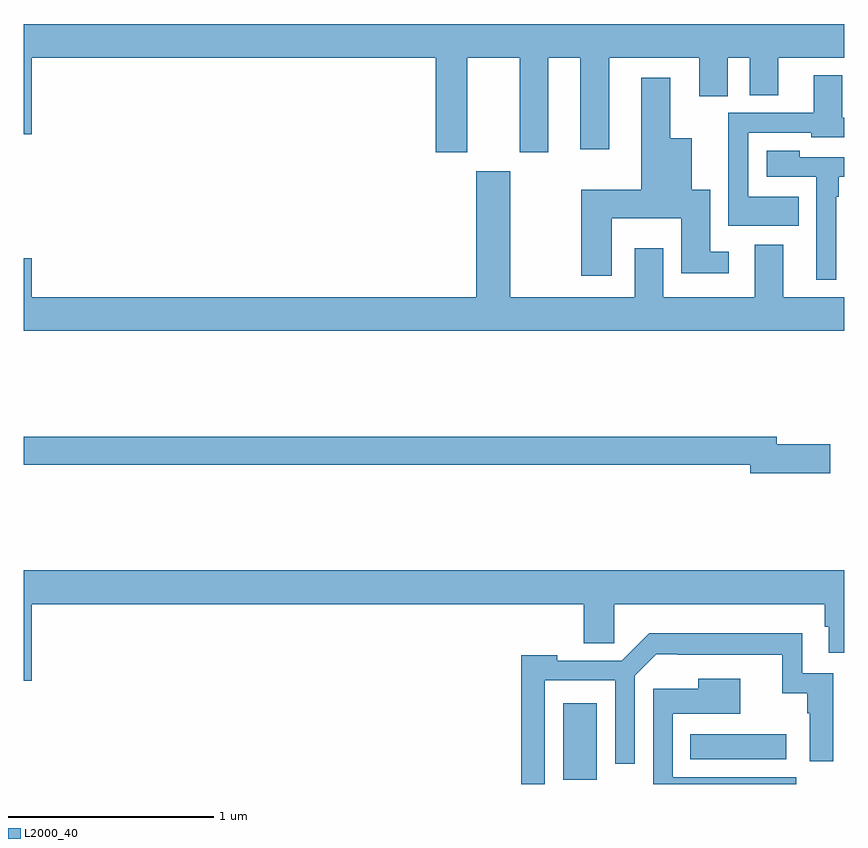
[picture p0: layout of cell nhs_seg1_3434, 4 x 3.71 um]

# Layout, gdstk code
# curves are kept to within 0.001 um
import gdstk
lib = gdstk.Library(unit=1e-6, precision=1e-09)
def R(c, l, rs):  # rectangles x0, y0, x1, y1
    for r in rs: c.add(gdstk.rectangle(r[:2], r[2:], *l))
def P(c, l, *ps):  # polygons
    for p in ps: c.add(gdstk.Polygon(p, *l))
L2000_40 = (2000, 40)

nhs_seg1_3434 = lib.new_cell('nhs_seg1_3434')
R(nhs_seg1_3434, L2000_40, [(299.63,540.22,299.794,540.592), (300.25,540.32,300.718,540.442)])
P(nhs_seg1_3434, L2000_40, [(299.161,543.74),(299.417,543.74),(299.417,543.279),(299.557,543.279),(299.557,543.74),(299.714,543.74),(299.714,543.294),(299.854,543.294),(299.854,543.74),(300.293,543.74),(300.293,543.552),(300.432,543.552),(300.432,543.74),(300.539,543.74),(300.539,543.556),(300.679,543.556),(300.679,543.74),(301,543.74),(301,543.904),(297,543.904),(297,543.366),(297.04,543.366),(297.04,543.74),(299.009,543.74),(299.009,543.279),(299.161,543.279)],
  [(300.779,543.061),(300.531,543.061),(300.531,543.375),(300.84,543.375),(300.84,543.351),(301,543.351),(301,543.447),(300.991,543.447),(300.991,543.655),(300.851,543.655),(300.851,543.471),(300.434,543.471),(300.434,542.921),(300.779,542.921)],
  [(299.866,542.957),(300.206,542.957),(300.206,542.69),(300.436,542.69),(300.436,542.794),(300.346,542.794),(300.346,543.097),(300.256,543.097),(300.256,543.346),(300.151,543.346),(300.151,543.643),(300.011,543.643),(300.011,543.097),(299.719,543.097),(299.719,542.676),(299.866,542.676)],
  [(300.96,543.062),(300.973,543.062),(300.973,543.159),(301,543.159),(301,543.255),(300.782,543.255),(300.782,543.286),(300.621,543.286),(300.621,543.159),(300.864,543.159),(300.864,542.658),(300.96,542.658)],
  [(301,542.572),(300.703,542.572),(300.703,542.827),(300.563,542.827),(300.563,542.572),(300.118,542.572),(300.118,542.812),(299.978,542.812),(299.978,542.572),(299.371,542.572),(299.371,543.187),(299.207,543.187),(299.207,542.572),(297.04,542.572),(297.04,542.761),(297,542.761),(297,542.408),(301,542.408)],
  [(300.931,541.856),(300.67,541.856),(300.67,541.892),(297,541.892),(297,541.756),(300.542,541.756),(300.542,541.714),(300.931,541.714)],
  [(297.04,541.076),(299.729,541.076),(299.729,540.886),(299.879,540.886),(299.879,541.076),(300.904,541.076),(300.904,540.966),(300.924,540.966),(300.924,540.84),(301,540.84),(301,541.24),(297,541.24),(297,540.702),(297.04,540.702)],
  [(299.541,540.705),(299.883,540.705),(299.883,540.297),(299.979,540.297),(299.979,540.726),(300.084,540.831),(300.698,540.83),(300.698,540.641),(300.819,540.641),(300.819,540.545),(300.831,540.545),(300.831,540.309),(300.947,540.309),(300.947,540.738),(300.795,540.738),(300.795,540.934),(300.049,540.934),(299.916,540.801),(299.601,540.801),(299.601,540.826),(299.425,540.826),(299.425,540.199),(299.541,540.199)],
  [(300.766,540.231),(300.165,540.231),(300.165,540.542),(300.493,540.542),(300.493,540.712),(300.287,540.712),(300.287,540.664),(300.069,540.664),(300.069,540.199),(300.766,540.199)])

lib.write_gds('nhs_seg1_3434.gds')
